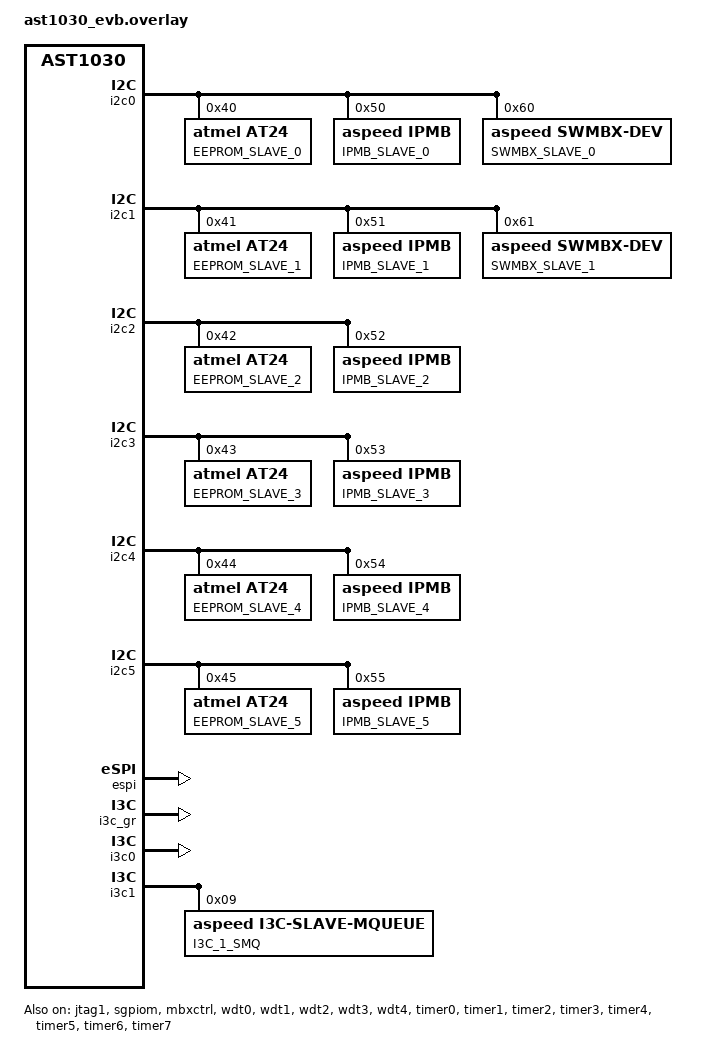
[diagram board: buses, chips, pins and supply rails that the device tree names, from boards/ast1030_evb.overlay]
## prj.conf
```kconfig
CONFIG_GPIO=y
CONFIG_SPI=y
CONFIG_I2C=y
CONFIG_THREAD_RUNTIME_STATS=y
CONFIG_GPIO_SHELL=y
CONFIG_I2C_SLAVE=y
CONFIG_I2C_EEPROM_SLAVE=y
CONFIG_I2C_IPMB_SLAVE=y
CONFIG_JTAG=y
CONFIG_FLASH=y
CONFIG_SPI_NOR_MULTI_DEV=y
CONFIG_FLASH_SHELL=y
CONFIG_HEAP_MEM_POOL_SIZE=16384
CONFIG_HWINFO=y
CONFIG_ESPI=y
CONFIG_MINIMAL_LIBC_MALLOC_ARENA_SIZE=16384
CONFIG_REBOOT=y
CONFIG_POSIX_CLOCK=y
CONFIG_STACK_SENTINEL=y
CONFIG_LOG=y
CONFIG_LOG_BACKEND_UART=y
CONFIG_SHELL=y
CONFIG_SHELL_BACKEND_SERIAL_INIT_PRIORITY=99
CONFIG_MBEDTLS=y
CONFIG_MBEDTLS_KEY_EXCHANGE_ECDHE_ECDSA_ENABLED=y
CONFIG_MBEDTLS_ECP_DP_SECP384R1_ENABLED=y
CONFIG_MBEDTLS_ENABLE_HEAP=y
CONFIG_MBEDTLS_HEAP_SIZE=16384
CONFIG_SHELL_STACK_SIZE=4096
```

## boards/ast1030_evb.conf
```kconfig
CONFIG_GPIO_ASPEED_SGPIOM=y
CONFIG_GPIO_ASPEED=y
CONFIG_SPI_ASPEED=y
CONFIG_I2C_ASPEED=y
CONFIG_JTAG_ASPEED=y
CONFIG_ESPI_ASPEED=y
CONFIG_I3C=y
CONFIG_I3C_SLAVE=y
CONFIG_I3C_SLAVE_MQUEUE=y
CONFIG_I3C_ASPEED=y
CONFIG_SHELL_CMDS_USB=y
CONFIG_FLASH=y
CONFIG_FLASH_PAGE_LAYOUT=y
CONFIG_IMG_BLOCK_BUF_SIZE=4096
CONFIG_USB_REQUEST_BUFFER_SIZE=4096
CONFIG_USB_DFU_DEFAULT_POLLTIMEOUT=40
CONFIG_SHELL_ARGC_MAX=70
CONFIG_WATCHDOG=y
CONFIG_WDT_ASPEED=y
CONFIG_TIMER_ASPEED=y
CONFIG_OTP_ASPEED=y
CONFIG_ABR_FLOW_CTRL_ASPEED=y
```

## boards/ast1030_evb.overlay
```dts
&jtag1{
	status = "okay";
};

&sgpiom{
	status = "okay";
};

&mbxctrl {
	status = "okay";
};

&i2c0 {
	status = "okay";
	pinctrl-0 = <&pinctrl_i2c0_default>;

	eeprom0: eeprom0@40 {
		compatible = "atmel,at24";
		reg = <0x40>;
		label = "EEPROM_SLAVE_0";
		size = <256>;
		pagesize = <16>;
		address-width = <8>;
		timeout = <5>;
#ifdef CONFIG_I2C_EEPROM_SLAVE
		status = "okay";
#endif
	};

	ipmb0: ipmb0@50 {
		compatible = "aspeed,ipmb";
		reg = <0x50>;
		label = "IPMB_SLAVE_0";
		size = <5>;
#ifdef CONFIG_I2C_IPMB_SLAVE
		status = "okay";
#endif
	};

	swmbx0: swmbx0@60 {
		compatible = "aspeed,swmbx-dev";
		reg = <0x60>;
		label = "SWMBX_SLAVE_0";
		size = <256>;
		port = <0>;
		status = "okay";
	};
};

&i2c1 {
	pinctrl-0 = <&pinctrl_i2c1_default>;
	status = "okay";

	eeprom1: eeprom1@41 {
		compatible = "atmel,at24";
		reg = <0x41>;
		label = "EEPROM_SLAVE_1";
		size = <256>;
		pagesize = <16>;
		address-width = <8>;
		timeout = <5>;
#ifdef CONFIG_I2C_EEPROM_SLAVE
		status = "okay";
#endif
	};

	ipmb1: ipmb1@51 {
		compatible = "aspeed,ipmb";
		reg = <0x51>;
		label = "IPMB_SLAVE_1";
		size = <5>;
#ifdef CONFIG_I2C_IPMB_SLAVE
		status = "okay";
#endif
	};

	swmbx1: swmbx1@61 {
		compatible = "aspeed,swmbx-dev";
		reg = <0x61>;
		label = "SWMBX_SLAVE_1";
		size = <256>;
		port = <1>;
		status = "okay";
	};
};

&i2c2 {
	pinctrl-0 = <&pinctrl_i2c2_default>;
	status = "okay";

	eeprom2: eeprom2@42 {
		compatible = "atmel,at24";
		reg = <0x42>;
		label = "EEPROM_SLAVE_2";
		size = <256>;
		pagesize = <16>;
		address-width = <8>;
		timeout = <5>;
#ifdef CONFIG_I2C_EEPROM_SLAVE
		status = "okay";
#endif
	};

	ipmb2: ipmb2@52 {
		compatible = "aspeed,ipmb";
		reg = <0x52>;
		label = "IPMB_SLAVE_2";
		size = <5>;
#ifdef CONFIG_I2C_IPMB_SLAVE
		status = "okay";
#endif
	};

};

&i2c3 {
	pinctrl-0 = <&pinctrl_i2c3_default>;
	status = "okay";

	eeprom3: eeprom3@43 {
		compatible = "atmel,at24";
		reg = <0x43>;
		label = "EEPROM_SLAVE_3";
		size = <256>;
		pagesize = <16>;
		address-width = <8>;
		timeout = <5>;
#ifdef CONFIG_I2C_EEPROM_SLAVE
		status = "okay";
#endif
	};

	ipmb3: ipmb3@53 {
		compatible = "aspeed,ipmb";
		reg = <0x53>;
		label = "IPMB_SLAVE_3";
		size = <5>;
#ifdef CONFIG_I2C_IPMB_SLAVE
		status = "okay";
#endif
	};

};

&i2c4 {
	pinctrl-0 = <&pinctrl_i2c4_default>;
	status = "okay";

	eeprom4: eeprom4@44 {
		compatible = "atmel,at24";
		reg = <0x44>;
		label = "EEPROM_SLAVE_4";
		size = <256>;
		pagesize = <16>;
		address-width = <8>;
		timeout = <5>;
#ifdef CONFIG_I2C_EEPROM_SLAVE
		status = "okay";
#endif
	};

	ipmb4: ipmb4@54 {
		compatible = "aspeed,ipmb";
		reg = <0x54>;
		label = "IPMB_SLAVE_4";
		size = <5>;
#ifdef CONFIG_I2C_IPMB_SLAVE
		status = "okay";
#endif
	};

};

&i2c5 {
	pinctrl-0 = <&pinctrl_i2c5_default>;
	status = "okay";

	eeprom5: eeprom5@45 {
		compatible = "atmel,at24";
		reg = <0x45>;
		label = "EEPROM_SLAVE_5";
		size = <256>;
		pagesize = <16>;
		address-width = <8>;
		timeout = <5>;
#ifdef CONFIG_I2C_EEPROM_SLAVE
		status = "okay";
#endif
	};

	ipmb5: ipmb5@55 {
		compatible = "aspeed,ipmb";
		reg = <0x55>;
		label = "IPMB_SLAVE_5";
		size = <5>;
#ifdef CONFIG_I2C_IPMB_SLAVE
		status = "okay";
#endif
	};

};

&espi {
	status = "okay";
	perif,memcyc-src-addr = <0x98000000>;
	perif,memcyc-size = <0x10000>;
	flash,safs-mode = <0x2>;
};

&i3c_gr {
	status = "okay";
};

&i3c0 {
	status = "okay";
	assigned-address = <0x8>;
};

&i3c1 {
	status = "okay";
	assigned-address = <0x9>;
	secondary;
	i3c1_smq:i3c-slave-mqueue@9 {
		compatible = "aspeed,i3c-slave-mqueue";
		reg = <0x9>;
		msg-size = <256>;
		num-of-msgs = <4>;
		mandatory-data-byte = <0xbf>;
		label = "I3C_1_SMQ";
		status = "okay";
	};
};

&fmc {
	status = "disabled";
};

&fmc_cs0 {
	status = "disabled";
	spi-max-buswidth = <4>;
	spi-max-frequency = <50000000>;

	partitions {
		compatible = "fixed-partitions";
		#address-cells = <1>;
		#size-cells = <1>;
		boot_partition: partition@0 {
			label = "image-0";
			reg = <0x0 0x100000>;
		};
		dfu_partition: partition@1 {
		       label = "image-1";
		       reg = <0x0 0x100000>;
	       };
	};
};

&fmc_cs1 {
	status = "disabled";
	spi-max-buswidth = <4>;
	spi-max-frequency = <50000000>;
};

&wdt0 {
	status = "okay";
};

&wdt1 {
	status = "okay";
};

&wdt2 {
	status = "okay";
};

&wdt3 {
	status = "okay";
};

&wdt4 {
	status = "okay";
};

&timer0 {
	status = "okay";
};

&timer1 {
	status = "okay";
};

&timer2 {
	status = "okay";
};

&timer3 {
	status = "okay";
};

&timer4 {
	status = "okay";
};

&timer5 {
	status = "okay";
};

&timer6 {
	status = "okay";
};

&timer7 {
	status = "okay";
};
```

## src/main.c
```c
/*
 * Copyright 2022 ASPEED
 *
 * SPDX-License-Identifier: Apache-2.0
 */

#include <zephyr.h>
#include <sys/printk.h>
#include <soc.h>
#include <drivers/misc/aspeed/abr_aspeed.h>

void main(void)
{
	printk("%s demo\n", CONFIG_BOARD);
	aspeed_print_sysrst_info();
	disable_abr_wdt();
}
```
